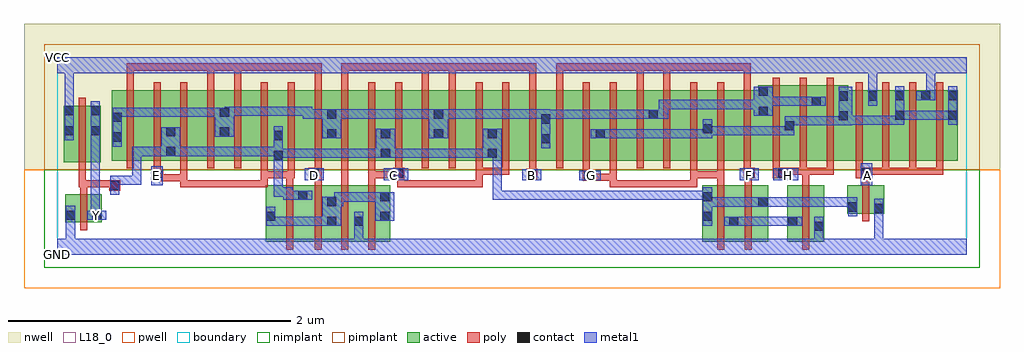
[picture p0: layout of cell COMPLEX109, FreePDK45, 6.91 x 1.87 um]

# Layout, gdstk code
import gdstk
lib = gdstk.Library(unit=1e-6, precision=1e-09)
def R(c, l, rs):  # rectangles x0, y0, x1, y1
    for r in rs: c.add(gdstk.rectangle(r[:2], r[2:], *l))
def A(c, l, x, y, w, h, nx, ny, dx, dy):  # array of equal rectangles
    R(c, l, [(x+i*dx, y+j*dy, x+i*dx+w, y+j*dy+h) for i in range(nx) for j in range(ny)])
active = (1, 0)
pwell = (2, 0)
nwell = (3, 0)
nimplant = (4, 0)
pimplant = (5, 0)
poly = (9, 0)
contact = (10, 0)
metal1 = (11, 0)
L18_0 = (18, 0)
boundary = (235, 0)

complex109 = lib.new_cell('COMPLEX109')
A(complex109, active, 0.387, 0.667, 0.225, 0.5, 6, 1, 0.38, 0)
A(complex109, active, 0.612, 0.667, 0.23, 0.5, 5, 1, 0.38, 0)
A(complex109, active, 2.512, 0.667, 0.225, 0.5, 3, 1, 0.38, 0)
A(complex109, active, 2.662, 0.667, 0.23, 0.5, 3, 1, 0.38, 0)
R(complex109, active, [(1.475,0.092,1.775,0.492), (1.7,0.092,1.982,0.492), (1.907,0.092,2.172,0.492), (2.097,0.092,2.172,0.492), (2.097,0.092,2.357,0.492), (4.567,0.092,4.827,0.492), (4.752,0.092,5.035,0.492), (5.17,0.092,5.43,0.492), (5.355,0.092,5.43,0.492), (1.475,0.147,1.55,0.492), (1.7,0.147,1.775,0.492), (1.907,0.147,1.982,0.492), (2.282,0.147,2.357,0.492), (4.567,0.147,4.642,0.492), (4.752,0.147,4.827,0.492), (4.96,0.147,5.035,0.492), (5.17,0.147,5.245,0.492), (0.057,0.23,0.317,0.43), (0.057,0.242,0.132,0.43), (0.242,0.242,0.317,0.43), (5.595,0.292,5.67,0.492), (5.595,0.292,5.855,0.492), (5.78,0.292,5.855,0.492), (0.047,0.657,0.122,1.057), (0.047,0.657,0.307,1.057), (0.232,0.657,0.307,1.057), (0.387,0.667,0.462,1.167), (1.147,0.667,1.222,1.157), (1.527,0.667,1.602,1.07), (2.287,0.667,2.362,1.07), (3.042,0.667,3.117,1.07), (3.422,0.667,3.497,1.157), (3.652,0.667,3.882,1.167), (3.807,0.667,3.882,1.07), (3.807,0.667,4.032,1.167), (4.032,0.667,4.257,1.167), (4.182,0.667,4.412,1.167), (4.412,0.667,4.642,1.167), (4.567,0.667,4.792,1.167), (4.792,0.667,5.037,1.167), (4.962,0.667,5.222,1.2), (5.147,0.667,5.412,1.2), (5.147,0.667,5.222,1.07), (5.337,0.667,5.602,1.2), (5.527,0.667,5.812,1.167), (5.737,0.667,6.002,1.167), (5.927,0.667,6.002,1.167), (5.927,0.667,6.187,1.167), (6.112,0.667,6.377,1.167), (6.302,0.667,6.377,1.167), (0.767,0.682,0.842,1.07), (4.567,0.682,4.642,1.07), (1.907,0.762,1.982,1.167), (2.662,0.762,2.737,1.157), (4.182,0.762,4.257,1.167), (5.337,0.775,5.412,1.2), (4.962,0.782,5.037,1.2), (5.527,0.807,5.602,1.2), (5.737,0.807,5.812,1.167), (6.112,0.807,6.187,1.167)])
R(complex109, pwell, [(-0.235,-0.235,6.675,0.602)])
R(complex109, nwell, [(-0.235,0.602,6.675,1.635)])
R(complex109, nimplant, [(-0.09,-0.09,6.53,0.602)])
R(complex109, pimplant, [(-0.09,0.602,6.53,1.49)])
A(complex109, poly, 1.822, 0.037, 0.05, 0.51, 3, 1, 0.19, 0)
A(complex109, poly, 1.822, 0.497, 0.05, 0.095, 3, 1, 0.19, 0)
A(complex109, poly, 1.822, 0.567, 0.05, 0.095, 3, 1, 0.57, 0)
A(complex109, poly, 5.067, 0.567, 0.05, 0.095, 3, 1, 0.19, 0)
A(complex109, poly, 5.652, 0.567, 0.05, 0.095, 4, 1, 0.19, 0)
A(complex109, poly, 0.492, 0.612, 0.05, 0.61, 24, 1, 0.19, 0)
A(complex109, poly, 5.067, 0.612, 0.05, 0.643, 3, 1, 0.19, 0)
A(complex109, poly, 5.652, 0.612, 0.05, 0.61, 4, 1, 0.19, 0)
R(complex109, poly, [(1.62,0.037,1.67,0.547), (4.672,0.037,4.722,0.547), (4.867,0.037,4.917,0.547), (5.275,0.037,5.325,0.547), (0.162,0.175,0.212,0.485), (5.7,0.237,5.75,0.547), (0.162,0.435,0.212,0.53), (0.37,0.455,0.445,0.53), (0.152,0.48,0.202,0.652), (0.152,0.48,0.212,0.53), (0.162,0.48,0.212,0.53), (0.162,0.48,0.212,0.53), (0.162,0.48,0.42,0.53), (0.37,0.48,0.42,0.53), (0.37,0.48,0.42,0.53), (0.872,0.48,1.17,0.53), (0.872,0.48,0.922,0.572), (1.12,0.48,1.17,0.53), (1.12,0.48,1.17,0.53), (1.12,0.48,1.17,0.53), (1.12,0.48,1.36,0.53), (1.31,0.48,1.36,0.53), (1.31,0.48,1.36,0.53), (1.31,0.48,1.36,0.53), (1.31,0.48,1.492,0.53), (1.442,0.48,1.492,0.592), (2.407,0.48,2.457,0.592), (2.407,0.48,2.59,0.53), (2.54,0.48,2.59,0.53), (2.54,0.48,2.765,0.53), (2.715,0.48,2.765,0.53), (2.715,0.48,2.765,0.53), (2.715,0.48,2.765,0.53), (2.715,0.48,3.012,0.53), (2.962,0.48,3.012,0.53), (2.962,0.48,3.012,0.53), (2.962,0.48,3.012,0.617), (3.912,0.48,3.962,0.575), (3.912,0.48,4.155,0.53), (4.105,0.48,4.155,0.53), (4.105,0.48,4.155,0.53), (4.105,0.48,4.155,0.53), (4.105,0.48,4.287,0.53), (4.237,0.48,4.287,0.53), (4.237,0.48,4.287,0.53), (4.237,0.48,4.287,0.53), (4.237,0.48,4.532,0.53), (4.482,0.48,4.532,0.592), (1.62,0.497,1.67,0.592), (4.672,0.497,4.722,0.592), (4.867,0.497,4.917,0.592), (5.275,0.497,5.325,0.617), (5.7,0.497,5.75,0.592), (0.677,0.522,0.752,0.597), (0.702,0.522,0.922,0.572), (0.872,0.522,0.922,0.572), (0.872,0.522,0.922,0.572), (0.872,0.522,0.922,0.662), (3.722,0.525,3.802,0.6), (3.752,0.525,3.802,0.575), (3.752,0.525,3.802,0.575), (3.752,0.525,3.962,0.575), (3.912,0.525,3.962,0.662), (3.322,0.535,3.397,0.61), (1.442,0.542,1.492,0.592), (1.442,0.542,1.492,0.592), (1.442,0.542,1.492,0.662), (1.442,0.542,1.67,0.592), (1.62,0.542,1.67,0.592), (1.62,0.542,1.67,0.592), (1.62,0.542,1.682,0.592), (1.632,0.542,1.682,0.662), (1.782,0.542,1.872,0.617), (2.012,0.542,2.062,0.592), (2.012,0.542,2.062,0.662), (2.202,0.542,2.252,0.592), (2.202,0.542,2.252,0.592), (2.202,0.542,2.252,0.592), (2.202,0.542,2.252,0.662), (2.202,0.542,2.43,0.592), (2.38,0.542,2.457,0.617), (2.407,0.542,2.457,0.592), (4.482,0.542,4.532,0.592), (4.482,0.542,4.532,0.592), (4.482,0.542,4.722,0.592), (4.482,0.542,4.532,0.662), (4.672,0.542,4.722,0.592), (4.672,0.542,4.722,0.592), (4.672,0.542,4.722,0.592), (4.672,0.542,4.722,0.662), (4.862,0.542,4.937,0.617), (5.067,0.542,5.175,0.617), (5.652,0.542,5.76,0.617), (0.682,0.547,0.732,0.662), (3.722,0.55,3.772,0.662), (3.342,0.56,3.392,0.662), (2.962,0.567,3.202,0.617), (3.152,0.567,3.202,0.662), (3.152,0.567,3.202,0.617), (3.152,0.567,3.202,0.617), (3.152,0.567,3.202,0.617), (4.862,0.567,4.912,0.662), (5.125,0.567,5.175,0.617), (5.125,0.567,5.175,0.617), (5.125,0.567,5.307,0.617), (5.257,0.567,5.325,0.617), (5.275,0.567,5.497,0.617), (5.447,0.567,5.497,0.617), (5.447,0.567,5.497,0.617), (5.447,0.567,5.497,0.617), (5.71,0.567,5.777,0.617), (5.727,0.567,5.777,0.617), (5.727,0.567,5.892,0.617), (5.842,0.567,5.892,0.617), (5.842,0.567,5.91,0.617), (5.86,0.567,5.91,0.617), (5.86,0.567,6.082,0.617), (6.032,0.567,6.082,0.617), (6.032,0.567,6.272,0.617), (6.222,0.567,6.272,0.617), (6.222,0.567,6.272,0.617), (6.222,0.567,6.272,0.617), (0.152,0.602,0.202,1.112), (0.492,1.172,0.542,1.355), (1.062,1.172,1.112,1.355), (1.252,1.172,1.302,1.355), (1.822,1.172,1.872,1.355), (2.012,1.172,2.062,1.355), (2.582,1.172,2.632,1.355), (2.772,1.172,2.822,1.355), (3.342,1.172,3.392,1.355), (3.532,1.172,3.582,1.355), (4.102,1.172,4.152,1.355), (4.292,1.172,4.342,1.355), (4.862,1.172,4.912,1.355), (0.492,1.305,0.542,1.355), (0.492,1.305,0.557,1.355), (0.507,1.305,0.557,1.355), (0.507,1.305,0.752,1.355), (0.702,1.305,0.752,1.355), (0.702,1.305,0.752,1.355), (0.702,1.305,0.752,1.355), (0.702,1.305,0.885,1.355), (0.835,1.305,0.885,1.355), (0.835,1.305,1.112,1.355), (1.062,1.305,1.112,1.355), (1.062,1.305,1.112,1.355), (1.062,1.305,1.112,1.355), (1.062,1.305,1.302,1.355), (1.252,1.305,1.302,1.355), (1.252,1.305,1.302,1.355), (1.252,1.305,1.302,1.355), (1.252,1.305,1.492,1.355), (1.442,1.305,1.492,1.355), (1.442,1.305,1.492,1.355), (1.442,1.305,1.492,1.355), (1.442,1.305,1.625,1.355), (1.575,1.305,1.625,1.355), (1.575,1.305,1.625,1.355), (1.575,1.305,1.625,1.355), (1.575,1.305,1.872,1.355), (1.822,1.305,1.872,1.355), (1.822,1.305,1.872,1.355), (1.822,1.305,1.872,1.355), (2.012,1.305,2.062,1.355), (2.012,1.305,2.062,1.355), (2.012,1.305,2.062,1.355), (2.012,1.305,2.297,1.355), (2.247,1.305,2.297,1.355), (2.247,1.305,2.297,1.355), (2.247,1.305,2.297,1.355), (2.247,1.305,2.457,1.355), (2.407,1.305,2.457,1.355), (2.407,1.305,2.457,1.355), (2.407,1.305,2.457,1.355), (2.407,1.305,2.632,1.355), (2.582,1.305,2.632,1.355), (2.582,1.305,2.822,1.355), (2.772,1.305,2.822,1.355), (2.772,1.305,2.822,1.355), (2.772,1.305,2.822,1.355), (2.772,1.305,3.012,1.355), (2.962,1.305,3.012,1.355), (2.962,1.305,3.012,1.355), (2.962,1.305,3.012,1.355), (2.962,1.305,3.24,1.355), (3.19,1.305,3.24,1.355), (3.19,1.305,3.24,1.355), (3.19,1.305,3.24,1.355), (3.19,1.305,3.392,1.355), (3.342,1.305,3.392,1.355), (3.342,1.305,3.392,1.355), (3.342,1.305,3.392,1.355), (3.532,1.305,3.582,1.355), (3.532,1.305,3.582,1.355), (3.532,1.305,3.582,1.355), (3.532,1.305,3.83,1.355), (3.78,1.305,3.83,1.355), (3.78,1.305,3.83,1.355), (3.78,1.305,3.83,1.355), (3.78,1.305,4.02,1.355), (3.97,1.305,4.02,1.355), (3.97,1.305,4.02,1.355), (3.97,1.305,4.02,1.355), (3.97,1.305,4.152,1.355), (4.102,1.305,4.152,1.355), (4.102,1.305,4.342,1.355), (4.292,1.305,4.342,1.355), (4.292,1.305,4.342,1.355), (4.292,1.305,4.342,1.355), (4.292,1.305,4.59,1.355), (4.54,1.305,4.59,1.355), (4.54,1.305,4.59,1.355), (4.54,1.305,4.59,1.355), (4.54,1.305,4.722,1.355), (4.672,1.305,4.722,1.355), (4.672,1.305,4.722,1.355), (4.672,1.305,4.722,1.355), (4.672,1.305,4.912,1.355), (4.862,1.305,4.912,1.355), (4.862,1.305,4.912,1.355), (4.862,1.305,4.912,1.355)])
R(complex109, contact, [(5.36,0.17,5.425,0.235), (1.912,0.205,1.977,0.27), (2.102,0.205,2.167,0.27), (4.757,0.205,4.822,0.27), (5.175,0.205,5.24,0.27), (1.48,0.24,1.545,0.305), (2.287,0.24,2.352,0.305), (4.572,0.24,4.637,0.305), (0.062,0.247,0.127,0.312), (0.247,0.247,0.312,0.312), (5.785,0.297,5.85,0.362), (5.6,0.307,5.665,0.372), (4.965,0.342,5.03,0.407), (1.912,0.345,1.977,0.41), (2.287,0.38,2.352,0.445), (4.572,0.38,4.637,0.445), (1.705,0.39,1.77,0.455), (0.375,0.46,0.44,0.525), (0.682,0.527,0.747,0.592), (3.732,0.53,3.797,0.595), (3.327,0.54,3.392,0.605), (1.787,0.547,1.852,0.612), (2.385,0.547,2.45,0.612), (4.867,0.547,4.932,0.612), (5.105,0.547,5.17,0.612), (5.69,0.547,5.755,0.612), (1.532,0.672,1.597,0.737), (2.292,0.687,2.357,0.752), (3.047,0.687,3.112,0.752), (0.772,0.7,0.837,0.765), (3.427,0.79,3.492,0.855), (0.392,0.802,0.457,0.867), (1.532,0.812,1.597,0.877), (1.912,0.825,1.977,0.89), (2.667,0.825,2.732,0.89), (3.812,0.825,3.877,0.89), (2.292,0.827,2.357,0.892), (3.047,0.827,3.112,0.892), (1.152,0.837,1.217,0.902), (0.772,0.84,0.837,0.905), (0.052,0.847,0.117,0.912), (0.237,0.847,0.302,0.912), (4.572,0.86,4.637,0.925), (5.152,0.882,5.217,0.947), (3.427,0.93,3.492,0.995), (0.392,0.942,0.457,1.007), (5.532,0.952,5.597,1.017), (5.932,0.955,5.997,1.02), (6.307,0.955,6.372,1.02), (4.187,0.962,4.252,1.027), (1.912,0.965,1.977,1.03), (2.667,0.965,2.732,1.03), (1.152,0.977,1.217,1.042), (4.967,0.985,5.032,1.05), (0.052,0.987,0.117,1.052), (0.237,0.987,0.302,1.052), (5.342,1.055,5.407,1.12), (5.532,1.092,5.597,1.157), (5.742,1.092,5.807,1.157), (5.932,1.095,5.997,1.16), (6.117,1.095,6.182,1.16), (6.307,1.095,6.372,1.16), (4.967,1.125,5.032,1.19)])
R(complex109, metal1, [(0,0,6.44,0.115), (0.062,0.05,0.127,0.115), (0.062,0.05,0.127,0.115), (0.062,0.05,0.127,0.277), (2.102,0.05,2.167,0.235), (5.36,0.05,5.425,0.2), (5.785,0.05,5.85,0.115), (5.785,0.05,5.85,0.115), (5.785,0.05,5.85,0.327), (5.36,0.135,5.425,0.27), (2.102,0.17,2.167,0.305), (1.48,0.205,1.545,0.27), (1.48,0.205,1.545,0.27), (1.48,0.205,1.545,0.34), (1.48,0.205,1.805,0.27), (1.74,0.205,1.805,0.27), (1.74,0.205,1.805,0.27), (1.74,0.205,1.805,0.27), (1.74,0.205,1.942,0.27), (1.877,0.205,2.012,0.41), (4.572,0.205,4.637,0.48), (4.722,0.205,4.857,0.27), (4.792,0.205,4.857,0.27), (4.792,0.205,4.857,0.27), (4.792,0.205,5.067,0.27), (5.002,0.205,5.067,0.27), (5.002,0.205,5.205,0.27), (5.14,0.205,5.205,0.27), (5.14,0.205,5.205,0.27), (5.14,0.205,5.275,0.27), (0.062,0.212,0.127,0.277), (0.062,0.212,0.127,0.277), (0.062,0.212,0.127,0.347), (2.252,0.24,2.387,0.445), (0.212,0.247,0.347,0.312), (0.237,0.247,0.302,0.415), (5.785,0.262,5.85,0.327), (5.785,0.262,5.85,0.327), (5.785,0.262,5.85,0.397), (5.6,0.272,5.665,0.407), (4.572,0.342,4.637,0.407), (4.572,0.342,4.637,0.407), (4.572,0.342,4.857,0.407), (4.792,0.342,4.857,0.407), (4.792,0.342,4.857,0.407), (4.792,0.342,4.857,0.407), (4.792,0.342,4.995,0.407), (4.93,0.342,5.065,0.407), (5,0.342,5.215,0.407), (5.15,0.342,5.215,0.407), (5.15,0.342,5.215,0.407), (5.15,0.342,5.215,0.407), (5.15,0.342,5.355,0.407), (5.29,0.342,5.355,0.407), (5.29,0.342,5.355,0.407), (5.29,0.342,5.355,0.407), (5.29,0.342,5.492,0.407), (5.427,0.342,5.492,0.407), (5.427,0.342,5.665,0.407), (1.947,0.345,2.025,0.41), (1.96,0.345,2.025,0.442), (0.237,0.35,0.302,0.415), (0.237,0.35,0.302,0.877), (1.96,0.377,2.167,0.442), (2.102,0.377,2.167,0.442), (2.102,0.377,2.167,0.442), (2.102,0.377,2.167,0.442), (2.102,0.377,2.317,0.442), (1.602,0.39,1.735,0.455), (1.602,0.39,1.667,0.477), (1.67,0.39,1.805,0.455), (3.082,0.39,3.147,0.455), (3.082,0.39,3.147,0.455), (3.082,0.39,3.147,0.455), (3.082,0.39,3.147,0.455), (3.082,0.39,3.147,0.455), (3.082,0.39,3.285,0.455), (3.082,0.39,3.147,0.752), (3.22,0.39,3.285,0.455), (3.22,0.39,3.285,0.455), (3.22,0.39,3.285,0.455), (3.22,0.39,3.422,0.455), (3.357,0.39,3.422,0.455), (3.357,0.39,3.422,0.455), (3.357,0.39,3.422,0.455), (3.357,0.39,3.63,0.455), (3.565,0.39,3.63,0.455), (3.565,0.39,3.767,0.455), (3.702,0.39,3.767,0.455), (3.702,0.39,3.767,0.455), (3.702,0.39,3.767,0.455), (3.702,0.39,4.05,0.455), (3.985,0.39,4.05,0.455), (3.985,0.39,4.05,0.455), (3.985,0.39,4.05,0.455), (3.985,0.39,4.187,0.455), (4.122,0.39,4.187,0.455), (4.122,0.39,4.325,0.455), (4.26,0.39,4.325,0.455), (4.26,0.39,4.325,0.455), (4.26,0.39,4.325,0.455), (4.26,0.39,4.462,0.455), (4.397,0.39,4.462,0.455), (4.397,0.39,4.462,0.455), (4.397,0.39,4.462,0.455), (4.397,0.39,4.637,0.455), (1.532,0.412,1.597,0.477), (1.532,0.412,1.597,0.477), (1.532,0.412,1.597,0.477), (1.532,0.412,1.667,0.477), (1.532,0.412,1.597,0.702), (0.375,0.425,0.44,0.56), (0.667,0.492,0.747,0.627), (5.69,0.492,5.772,0.647), (0.375,0.495,0.595,0.56), (0.53,0.495,0.595,0.56), (0.53,0.495,0.595,0.765), (1.752,0.527,1.887,0.612), (2.312,0.527,2.485,0.612), (3.292,0.527,3.427,0.605), (3.697,0.527,3.847,0.595), (4.832,0.527,4.967,0.612), (5.07,0.527,5.247,0.612), (1.532,0.637,1.597,0.912), (1.532,0.687,1.597,0.752), (1.532,0.687,1.597,0.752), (1.532,0.687,1.805,0.752), (1.74,0.687,1.805,0.752), (1.74,0.687,1.805,0.752), (1.74,0.687,1.805,0.752), (1.74,0.687,2.03,0.752), (1.965,0.687,2.03,0.752), (1.965,0.687,2.03,0.752), (1.965,0.687,2.03,0.752), (1.965,0.687,2.167,0.752), (2.102,0.687,2.167,0.752), (2.102,0.687,2.167,0.752), (2.102,0.687,2.167,0.752), (2.102,0.687,2.322,0.752), (2.257,0.687,2.392,0.892), (2.327,0.687,2.392,0.752), (2.327,0.687,2.392,0.752), (2.327,0.687,2.56,0.752), (2.495,0.687,2.56,0.752), (2.495,0.687,2.56,0.752), (2.495,0.687,2.56,0.752), (2.495,0.687,2.767,0.752), (2.702,0.687,2.767,0.752), (2.702,0.687,2.767,0.752), (2.702,0.687,2.767,0.752), (2.702,0.687,2.905,0.752), (2.84,0.687,2.905,0.752), (2.84,0.687,2.905,0.752), (2.84,0.687,2.905,0.752), (2.84,0.687,3.077,0.752), (3.012,0.687,3.147,0.892), (0.53,0.7,0.595,0.765), (0.53,0.7,0.595,0.765), (0.53,0.7,0.595,0.765), (0.53,0.7,0.802,0.765), (0.737,0.7,0.872,0.905), (0.807,0.7,0.907,0.765), (0.842,0.7,0.907,0.765), (0.842,0.7,1.022,0.765), (0.957,0.7,1.022,0.765), (0.957,0.7,1.115,0.765), (1.05,0.7,1.115,0.765), (1.05,0.7,1.27,0.765), (1.205,0.7,1.27,0.765), (1.205,0.7,1.27,0.765), (1.205,0.7,1.27,0.765), (1.205,0.7,1.407,0.765), (1.342,0.7,1.407,0.765), (1.342,0.7,1.407,0.765), (1.342,0.7,1.407,0.765), (1.342,0.7,1.597,0.765), (3.427,0.755,3.492,1.03), (0.392,0.767,0.457,1.042), (0.052,0.812,0.117,1.087), (0.237,0.812,0.302,1.087), (1.877,0.825,2.012,1.03), (2.632,0.825,2.767,1.03), (3.777,0.825,3.912,0.89), (3.847,0.825,4.05,0.89), (3.985,0.825,4.05,0.89), (3.985,0.825,4.05,0.89), (3.985,0.825,4.05,0.89), (3.985,0.825,4.187,0.89), (4.122,0.825,4.187,0.89), (4.122,0.825,4.325,0.89), (4.26,0.825,4.325,0.89), (4.26,0.825,4.325,0.89), (4.26,0.825,4.325,0.89), (4.26,0.825,4.462,0.89), (4.397,0.825,4.462,0.89), (4.397,0.825,4.462,0.89), (4.397,0.825,4.462,0.89), (4.397,0.825,4.637,0.89), (4.572,0.825,4.637,0.96), (1.117,0.837,1.252,1.042), (4.572,0.847,4.637,0.912), (4.572,0.847,4.637,0.912), (4.572,0.847,4.857,0.912), (4.792,0.847,4.857,0.912), (4.792,0.847,4.857,0.912), (4.792,0.847,4.857,0.912), (4.792,0.847,5.067,0.912), (5.002,0.847,5.067,0.912), (5.002,0.847,5.217,0.912), (5.152,0.847,5.217,0.912), (5.152,0.847,5.217,0.912), (5.152,0.847,5.217,0.982), (5.152,0.917,5.355,0.982), (5.29,0.917,5.355,0.982), (5.29,0.917,5.355,0.982), (5.29,0.917,5.355,0.982), (5.29,0.917,5.492,0.982), (5.427,0.917,5.492,0.982), (5.427,0.917,5.597,0.982), (5.532,0.917,5.63,1.192), (5.565,0.92,5.63,0.985), (5.565,0.92,5.63,0.985), (5.565,0.92,5.767,0.985), (5.702,0.92,5.767,0.985), (5.702,0.92,5.767,0.985), (5.702,0.92,5.767,0.985), (5.702,0.92,5.997,0.985), (5.932,0.92,5.997,1.195), (6.307,0.92,6.372,1.195), (5.932,0.957,5.997,1.022), (5.932,0.957,5.997,1.022), (5.932,0.957,6.235,1.022), (6.17,0.957,6.235,1.022), (6.17,0.957,6.372,1.022), (6.307,0.957,6.372,1.022), (6.307,0.957,6.372,1.022), (3.427,0.962,3.492,1.027), (3.427,0.962,3.492,1.027), (3.427,0.962,3.63,1.027), (3.565,0.962,3.63,1.027), (3.565,0.962,3.767,1.027), (3.702,0.962,3.767,1.027), (3.702,0.962,3.767,1.027), (3.702,0.962,3.767,1.027), (3.702,0.962,4.05,1.027), (3.985,0.962,4.05,1.027), (3.985,0.962,4.05,1.027), (3.985,0.962,4.05,1.027), (3.985,0.962,4.187,1.027), (4.122,0.962,4.187,1.027), (4.122,0.962,4.217,1.027), (4.152,0.962,4.287,1.027), (4.222,0.962,4.325,1.027), (4.26,0.962,4.325,1.097), (1.74,0.965,1.805,1.03), (1.74,0.965,1.805,1.03), (1.74,0.965,1.942,1.03), (1.74,0.965,1.805,1.05), (1.947,0.965,2.012,1.03), (1.947,0.965,2.012,1.03), (1.947,0.965,2.167,1.03), (2.102,0.965,2.167,1.03), (2.102,0.965,2.167,1.03), (2.102,0.965,2.167,1.03), (2.102,0.965,2.422,1.03), (2.357,0.965,2.422,1.03), (2.357,0.965,2.422,1.03), (2.357,0.965,2.422,1.03), (2.357,0.965,2.56,1.03), (2.495,0.965,2.56,1.03), (2.495,0.965,2.56,1.03), (2.495,0.965,2.56,1.03), (2.495,0.965,2.697,1.03), (2.702,0.965,2.767,1.03), (2.702,0.965,2.767,1.03), (2.702,0.965,2.94,1.03), (2.875,0.965,2.94,1.03), (2.875,0.965,2.94,1.03), (2.875,0.965,2.94,1.03), (2.875,0.965,3.147,1.03), (3.082,0.965,3.147,1.03), (3.082,0.965,3.147,1.03), (3.082,0.965,3.147,1.03), (3.082,0.965,3.285,1.03), (3.22,0.965,3.285,1.03), (3.22,0.965,3.285,1.03), (3.22,0.965,3.285,1.03), (3.22,0.965,3.492,1.03), (0.392,0.977,0.457,1.042), (0.392,0.977,0.457,1.042), (0.392,0.977,0.665,1.042), (0.6,0.977,0.665,1.042), (0.6,0.977,0.665,1.042), (0.6,0.977,0.665,1.042), (0.6,0.977,0.885,1.042), (0.82,0.977,0.885,1.042), (0.82,0.977,0.885,1.042), (0.82,0.977,0.885,1.042), (0.82,0.977,1.045,1.042), (0.98,0.977,1.045,1.042), (0.98,0.977,1.045,1.042), (0.98,0.977,1.045,1.042), (0.98,0.977,1.182,1.042), (1.187,0.977,1.252,1.042), (1.187,0.977,1.252,1.05), (1.187,0.985,1.407,1.05), (1.342,0.985,1.407,1.05), (1.342,0.985,1.407,1.05), (1.342,0.985,1.407,1.05), (1.342,0.985,1.545,1.05), (1.48,0.985,1.545,1.05), (1.48,0.985,1.545,1.05), (1.48,0.985,1.545,1.05), (1.48,0.985,1.805,1.05), (4.932,0.985,5.067,1.19), (0.052,1.022,0.117,1.35), (4.26,1.032,4.462,1.097), (4.397,1.032,4.462,1.097), (4.397,1.032,4.462,1.097), (4.397,1.032,4.462,1.097), (4.397,1.032,4.6,1.097), (4.535,1.032,4.6,1.097), (4.535,1.032,4.6,1.097), (4.535,1.032,4.6,1.097), (4.535,1.032,4.857,1.097), (4.792,1.032,4.857,1.097), (4.792,1.032,4.857,1.097), (4.792,1.032,4.857,1.097), (4.792,1.032,4.997,1.097), (5.002,1.055,5.205,1.12), (5.14,1.055,5.205,1.12), (5.14,1.055,5.205,1.12), (5.14,1.055,5.205,1.12), (5.14,1.055,5.355,1.12), (5.29,1.055,5.355,1.12), (5.29,1.055,5.372,1.12), (5.307,1.055,5.442,1.12), (5.742,1.057,5.807,1.192), (6.082,1.095,6.217,1.16), (6.152,1.095,6.217,1.35), (5.742,1.127,5.807,1.35), (0,1.285,6.44,1.4), (0.052,1.285,0.117,1.35), (0.052,1.285,0.117,1.35), (5.742,1.285,5.807,1.35), (5.742,1.285,5.807,1.35), (6.152,1.285,6.217,1.35), (6.152,1.285,6.217,1.35)])
R(complex109, L18_0, [(0,0,6.44,0.115), (0.062,0.05,0.127,0.115), (0.062,0.05,0.127,0.115), (0.062,0.05,0.127,0.277), (2.102,0.05,2.167,0.235), (5.36,0.05,5.425,0.2), (5.785,0.05,5.85,0.115), (5.785,0.05,5.85,0.115), (5.785,0.05,5.85,0.327), (5.36,0.135,5.425,0.27), (2.102,0.17,2.167,0.305), (0.062,0.212,0.127,0.277), (0.062,0.212,0.127,0.277), (0.062,0.212,0.127,0.347), (0.212,0.247,0.347,0.312), (0.237,0.247,0.302,0.415), (0.247,0.247,0.312,0.312), (5.785,0.262,5.85,0.327), (5.785,0.262,5.85,0.327), (5.785,0.262,5.85,0.397), (0.237,0.35,0.302,0.415), (0.237,0.35,0.302,0.877), (0.667,0.492,0.747,0.627), (5.69,0.492,5.772,0.647), (0.667,0.527,0.732,0.592), (1.752,0.527,1.887,0.612), (1.787,0.527,1.852,0.592), (2.312,0.527,2.485,0.612), (2.347,0.527,2.412,0.592), (3.292,0.527,3.427,0.605), (3.327,0.527,3.392,0.592), (3.697,0.527,3.847,0.595), (3.747,0.527,3.812,0.592), (4.832,0.527,4.967,0.612), (4.867,0.527,4.932,0.592), (5.07,0.527,5.247,0.612), (5.147,0.527,5.212,0.592), (5.707,0.527,5.772,0.592), (0.052,0.812,0.117,1.087), (0.237,0.812,0.302,1.087), (0.052,1.022,0.117,1.35), (5.742,1.057,5.807,1.192), (6.082,1.095,6.217,1.16), (6.152,1.095,6.217,1.35), (5.742,1.127,5.807,1.35), (0,1.285,6.44,1.4), (0.052,1.285,0.117,1.35), (0.052,1.285,0.117,1.35), (5.742,1.285,5.807,1.35), (5.742,1.285,5.807,1.35), (6.152,1.285,6.217,1.35), (6.152,1.285,6.217,1.35)])
R(complex109, boundary, [(0,0,6.44,1.4)])
complex109.add(gdstk.Label('A', (5.74,0.56), layer=11, texttype=0))
complex109.add(gdstk.Label('B', (3.36,0.56), layer=11, texttype=0))
complex109.add(gdstk.Label('C', (2.38,0.56), layer=11, texttype=0))
complex109.add(gdstk.Label('D', (1.82,0.56), layer=11, texttype=0))
complex109.add(gdstk.Label('E', (0.7,0.56), layer=11, texttype=0))
complex109.add(gdstk.Label('F', (4.9,0.56), layer=11, texttype=0))
complex109.add(gdstk.Label('G', (3.78,0.56), layer=11, texttype=0))
complex109.add(gdstk.Label('H', (5.18,0.56), layer=11, texttype=0))
complex109.add(gdstk.Label('Y', (0.28,0.28), layer=11, texttype=0))
complex109.add(gdstk.Label('VCC', (0,1.4), layer=11, texttype=0))
complex109.add(gdstk.Label('GND', (0,0), layer=11, texttype=0))

lib.write_gds('COMPLEX109.gds')
